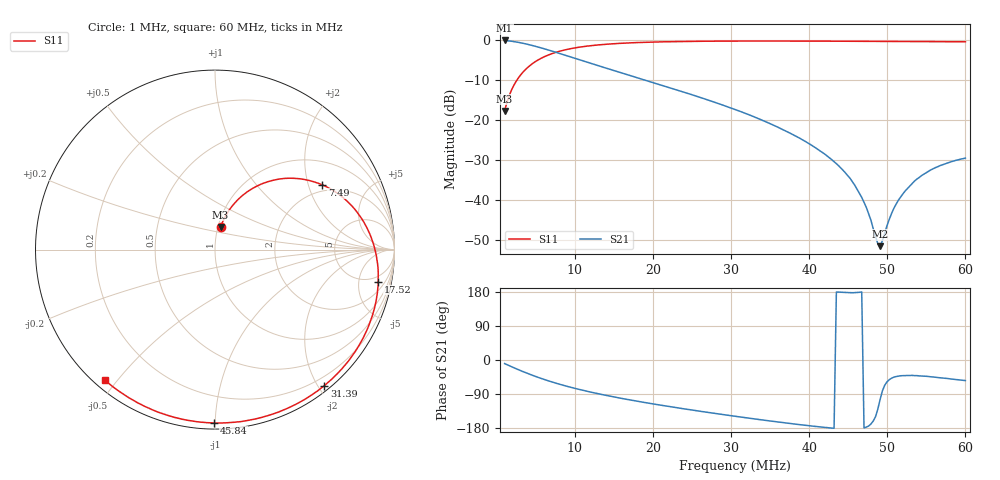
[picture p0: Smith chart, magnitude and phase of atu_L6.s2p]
! S11/S21 from S-A-A-2 VNA
! Written 2026-11-14 07:41:59 by the saav2 MCP server
! S12 and S22 were not measured (1.5-port VNA) and are written as 0
# HZ S RI R 50
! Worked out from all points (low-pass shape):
!   201 points, 1 MHz to 60 MHz, reference 50 ohm
!   highest |S21| = -0.10 dB at 1 MHz (marker M1); lowest = -51.5 dB at 49.09 MHz (marker M2)
!   |S21| within 3 dB of the highest: start of sweep to 7.629 MHz
!   lowest |S11| = -17.7 dB at 1 MHz (marker M3), VSWR 1.30, Z = 51.5 + j13.2 ohm
!   |S11| at or under -10 dB: start of sweep to 2.584 MHz
!   S12 and S22 are empty: the file has one direction only
!   S11 on the Smith chart (normalised r, x): 1 MHz: 1.03, +0.26; 7.49 MHz: 1.76, +2.48; 17.52 MHz: 3.52, -8.92; 31.39 MHz: 0.08, -2.09; 45.84 MHz: 0.03, -0.99; 60 MHz: 0.03, -0.46
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1000000  0.031 0.1259  0.9752 -0.1631  0 0  0 0
1885000  0.0809 0.2234  0.921 -0.2945  0 0  0 0
3360000  0.2071 0.3397  0.784 -0.4649  0 0  0 0
5425000  0.4143 0.3978  0.5555 -0.5915  0 0  0 0
7490000  0.5987 0.3604  0.3465 -0.616  0 0  0 0
1.103e7  0.8049 0.1904  0.0951 -0.5412  0 0  0 0
1.398e7  0.886 0.0203  -0.0255 -0.4457  0 0  0 0
1.752e7  0.9096 -0.1784  -0.1028 -0.3339  0 0  0 0
2.0765e7  0.8834 -0.3443  -0.133 -0.2456  0 0  0 0
3.05e7  0.6404 -0.7308  -0.1156 -0.0712  0 0  0 0
3.1385e7  0.6096 -0.7575  -0.1102 -0.0612  0 0  0 0
4.053e7  0.2369 -0.9407  -0.0467 -0.00432  0 0  0 0
4.3775e7  0.0896 -0.9633  -0.0268 0.000415  0 0  0 0
4.584e7  -0.00519 -0.9661  -0.0153 0.000606  0 0  0 0
4.7315e7  -0.0737 -0.9618  -0.00809 -0.000411  0 0  0 0
4.879e7  -0.142 -0.9526  -0.00181 -0.0022  0 0  0 0
4.9085e7  -0.1554 -0.9505  -0.000629 -0.00257  0 0  0 0
5.0265e7  -0.2092 -0.9384  0.00358 -0.00454  0 0  0 0
5.1445e7  -0.2625 -0.924  0.00739 -0.00678  0 0  0 0
5.3805e7  -0.3673 -0.8839  0.0138 -0.0121  0 0  0 0
5.6165e7  -0.4662 -0.8334  0.0178 -0.0182  0 0  0 0
6e7  -0.6143 -0.7268  0.0195 -0.0271  0 0  0 0
